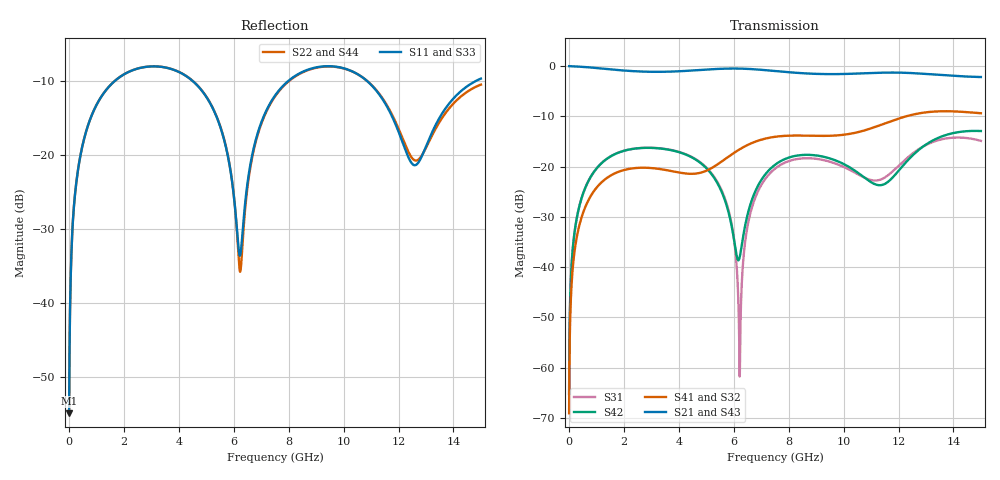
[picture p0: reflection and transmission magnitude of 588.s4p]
! Created with skrf 1.8.0 (http://scikit-rf.org).
# GHz S RI R 50.0
!freq ReS11 ImS11 ReS12 ImS12 ReS13 ImS13
! ReS14 ImS14
! ReS21 ImS21 ReS22 ImS22 ReS23 ImS23
! ReS24 ImS24
! ReS31 ImS31 ReS32 ImS32 ReS33 ImS33
! ReS34 ImS34
! ReS41 ImS41 ReS42 ImS42 ReS43 ImS43
! ReS44 ImS44
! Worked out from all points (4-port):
!   2499 points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, 5 MHz to 15 GHz, reference 50 ohm
!   strongest paths, dB at 5 MHz, 3.476 GHz, 7.19 GHz, 11.1 GHz, 15 GHz:
!     S21: 0.0, -1.1, -0.8, -1.4, -2.2
!     S43: 0.0, -1.1, -0.8, -1.4, -2.2
!     S41: -69.1, -20.6, -14.4, -12.2, -9.4
!     S32: -69.1, -20.7, -14.4, -12.2, -9.5
!     S42: -65.2, -16.5, -21.3, -23.4, -12.9
!     S31: -65.2, -16.5, -22.1, -22.8, -14.9
!   lowest |S11| = -54.8 dB at 5 MHz (marker M1), VSWR 1.00, Z = 50.1 + j0.11 ohm
!   |S11| at or under -10 dB: start of sweep to 1.682 GHz; 4.489 GHz to 8 GHz (3.511 GHz wide, 56.2 % of centre); 10.84 GHz to 14.84 GHz (4.002 GHz wide, 31.2 % of centre)
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0.005  0.00144 0.0011  0.9985 -0.0028  7.08e-05 0.000544  -6.9e-05 -0.000345
       0.9985 -0.0028  0.00144 0.0011  -6.9e-05 -0.000345  7.08e-05 0.000544
       7.08e-05 0.000544  -6.9e-05 -0.000345  0.00144 0.0011  0.9985 -0.0028
       -6.9e-05 -0.000345  7.08e-05 0.000544  0.9985 -0.0028  0.00144 0.0011
0.3626511  0.0241 0.0835  0.9669 -0.2019  0.0108 0.0374  -0.00905 -0.0234
           0.9669 -0.2019  0.0241 0.0835  -0.00904 -0.0234  0.0108 0.0374
           0.0108 0.0374  -0.00904 -0.0234  0.0241 0.0835  0.9669 -0.2019
           -0.00905 -0.0234  0.0108 0.0374  0.9669 -0.2019  0.0241 0.0835
1.619545  0.2444 0.189  0.6046 -0.6963  0.1139 0.065  -0.0832 -0.0147
          0.6046 -0.6963  0.2446 0.1889  -0.083 -0.0149  0.1134 0.0656
          0.1139 0.065  -0.083 -0.0149  0.2445 0.1889  0.6046 -0.6964
          -0.0832 -0.0147  0.1134 0.0656  0.6046 -0.6964  0.2445 0.189
5.20842  0.1279 -0.1677  -0.759 -0.5394  0.0317 -0.0785  -0.0361 0.0903
         -0.759 -0.5394  0.1259 -0.1704  -0.0385 0.0885  0.0388 -0.0734
         0.0317 -0.0785  -0.0385 0.0885  0.1268 -0.1688  -0.7591 -0.5393
         -0.0361 0.0903  0.0388 -0.0734  -0.7591 -0.5393  0.127 -0.1694
6.21509  0.0209 -0.00154  -0.9414 -0.0751  0.000689 -0.00044  -0.00511 0.1487
         -0.9414 -0.0751  0.0163 -0.00371  -0.00946 0.1484  0.0125 0.000784
         0.000689 -0.00044  -0.00946 0.1484  0.019 -0.00157  -0.9414 -0.0749
         -0.00511 0.1487  0.0125 0.000784  -0.9414 -0.0749  0.0182 -0.00344
7.553147  0.1789 0.1862  -0.7264 0.5165  0.091 0.0358  0.1388 0.1424
          -0.7264 0.5165  0.172 0.1881  0.1342 0.1461  0.1028 0.0286
          0.091 0.0358  0.1342 0.1461  0.178 0.1878  -0.7262 0.5167
          0.1388 0.1424  0.1028 0.0286  -0.7262 0.5167  0.1733 0.187
15  0.3176 0.0753  0.3873 -0.6756  0.1804 0.00393  -0.3268 -0.0931
    0.3873 -0.6756  0.2895 0.068  -0.3172 -0.1108  0.2165 -0.0651
    0.1804 0.00393  -0.3172 -0.1108  0.3237 0.0761  0.3865 -0.6753
    -0.3268 -0.0931  0.2165 -0.0651  0.3865 -0.6753  0.286 0.07
